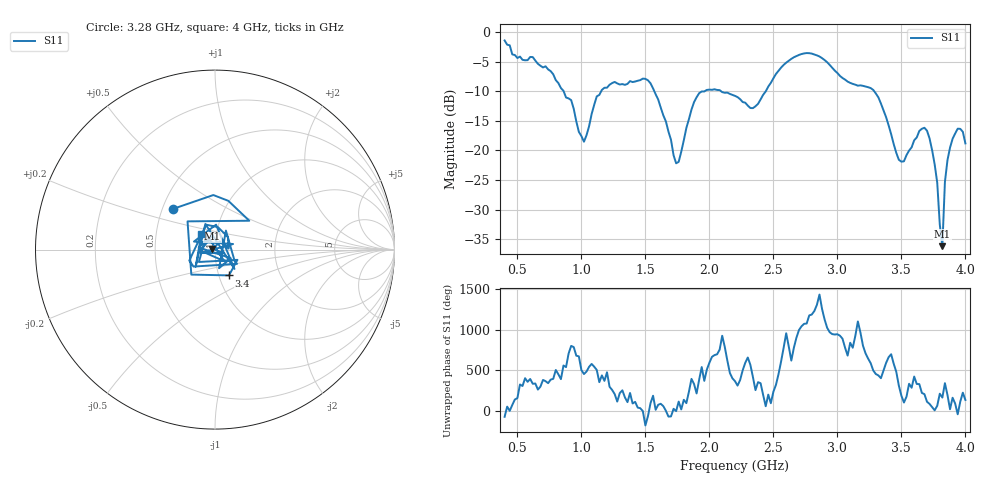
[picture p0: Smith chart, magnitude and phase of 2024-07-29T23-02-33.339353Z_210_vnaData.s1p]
!Created with skrf (http://scikit-rf.org).
# Hz S RI R 50.0
!freq ReS11 ImS11
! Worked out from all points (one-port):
!   181 points, 400 MHz to 4 GHz, reference 50 ohm
!   lowest |S11| = -36.2 dB at 3.82 GHz (marker M1), VSWR 1.03, Z = 48.6 + j0.485 ohm
!   |S11| at or under -10 dB: 1.57 GHz to 1.961 GHz (390.8 MHz wide, 22.1 % of centre); 2.092 GHz to 2.44 GHz (347.7 MHz wide, 15.3 % of centre); 3.288 GHz to end of sweep (the widest 3 of 4)
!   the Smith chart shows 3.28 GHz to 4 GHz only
!   S11 on the Smith chart (normalised r, x): 3.28 GHz: 0.57, +0.29; 3.4 GHz: 1.12, -0.33; 4 GHz: 0.85, +0.15
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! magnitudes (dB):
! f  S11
! 400 MHz  -1.4
! 720 MHz  -5.8
! 860 MHz  -9.9
! 920 MHz  -11.5
! 1.02 GHz  -18.5
! 1.12 GHz  -10.8
! 1.3 GHz  -8.8
! 1.54 GHz  -8.6
! 1.76 GHz  -21.9
! 1.86 GHz  -13.1
! 1.92 GHz  -10.3
! 2.2 GHz  -10.8
! 2.34 GHz  -12.8
! 2.66 GHz  -4.2
! 2.86 GHz  -4.1
! 3.1 GHz  -8.6
! 3.28 GHz  -9.8
! 3.4 GHz  -15.7
! 3.48 GHz  -21.6
! 3.56 GHz  -20.0
! 3.7 GHz  -16.7
! 3.78 GHz  -25.5
! 3.8 GHz  -32.5
! 3.82 GHz  -36.2
! 3.84 GHz  -25.3
! 3.88 GHz  -19.5
! 3.94 GHz  -16.3
! 4 GHz  -18.8
